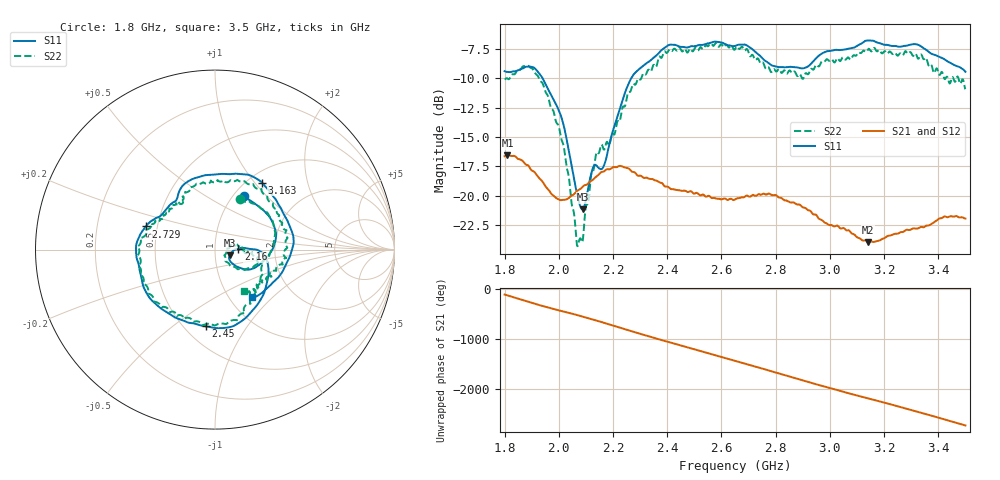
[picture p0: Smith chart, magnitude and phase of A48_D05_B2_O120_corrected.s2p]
! Created with skrf 1.9.0 (http://scikit-rf.org).
# Hz S RI R 50.0
!freq ReS11 ImS11 ReS21 ImS21 ReS12 ImS12 ReS22 ImS22
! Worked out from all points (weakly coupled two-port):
!   1601 points, 1.8 GHz to 3.5 GHz, reference 50 ohm
!   highest |S21| = -16.55 dB at 1.811 GHz (marker M1); lowest = -23.9 dB at 3.142 GHz (marker M2)
!   lowest |S11| = -21.1 dB at 2.088 GHz (marker M3), VSWR 1.19, Z = 58.8 - j3.74 ohm
!   |S11| at or under -10 dB: 1.94 GHz to 2.267 GHz (327 MHz wide, 15.5 % of centre)
!   |S22| runs from -24.3 to -7.0 dB; largest |S21 - S12| = 0.0023
!   S11 on the Smith chart (normalised r, x): 1.8 GHz: 1.12, +0.75; 2.16 GHz: 1.30, +0.01; 2.45 GHz: 0.63, -0.66; 2.729 GHz: 0.43, +0.13; 3.163 GHz: 1.16, +1.09; 3.5 GHz: 1.27, -0.76
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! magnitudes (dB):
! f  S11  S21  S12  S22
! 1.8 GHz  -9.4  -16.6  -16.6  -10.1
! 1.811 GHz  -9.5  -16.5  -16.6  -10.0
! 1.883 GHz  -9.0  -17.4  -17.4  -8.9
! 1.941 GHz  -10.0  -18.8  -18.8  -10.5
! 2.011 GHz  -13.5  -20.4  -20.3  -15.3
! 2.066 GHz  -19.7  -19.6  -19.6  -24.0
! 2.084 GHz  -21.1  -19.3  -19.3  -23.8
! 2.088 GHz  -21.1  -19.2  -19.2  -23.9
! 2.125 GHz  -17.7  -18.6  -18.6  -17.9
! 2.16 GHz  -17.7  -18.0  -17.9  -15.7
! 2.262 GHz  -10.2  -17.8  -17.8  -11.2
! 2.367 GHz  -7.9  -18.8  -18.7  -8.3
! 2.45 GHz  -7.3  -19.6  -19.5  -7.6
! 2.65 GHz  -7.2  -20.3  -20.3  -7.5
! 2.729 GHz  -7.8  -20.0  -20.0  -8.4
! 2.806 GHz  -9.0  -20.0  -20.0  -9.4
! 2.934 GHz  -8.7  -21.5  -21.4  -9.2
! 3.142 GHz  -6.8  -23.9  -23.8  -7.5
! 3.163 GHz  -6.8  -23.9  -23.9  -7.4
! 3.217 GHz  -7.2  -23.4  -23.4  -7.8
! 3.34 GHz  -7.3  -22.7  -22.6  -8.1
! 3.5 GHz  -9.4  -21.9  -21.9  -10.9
